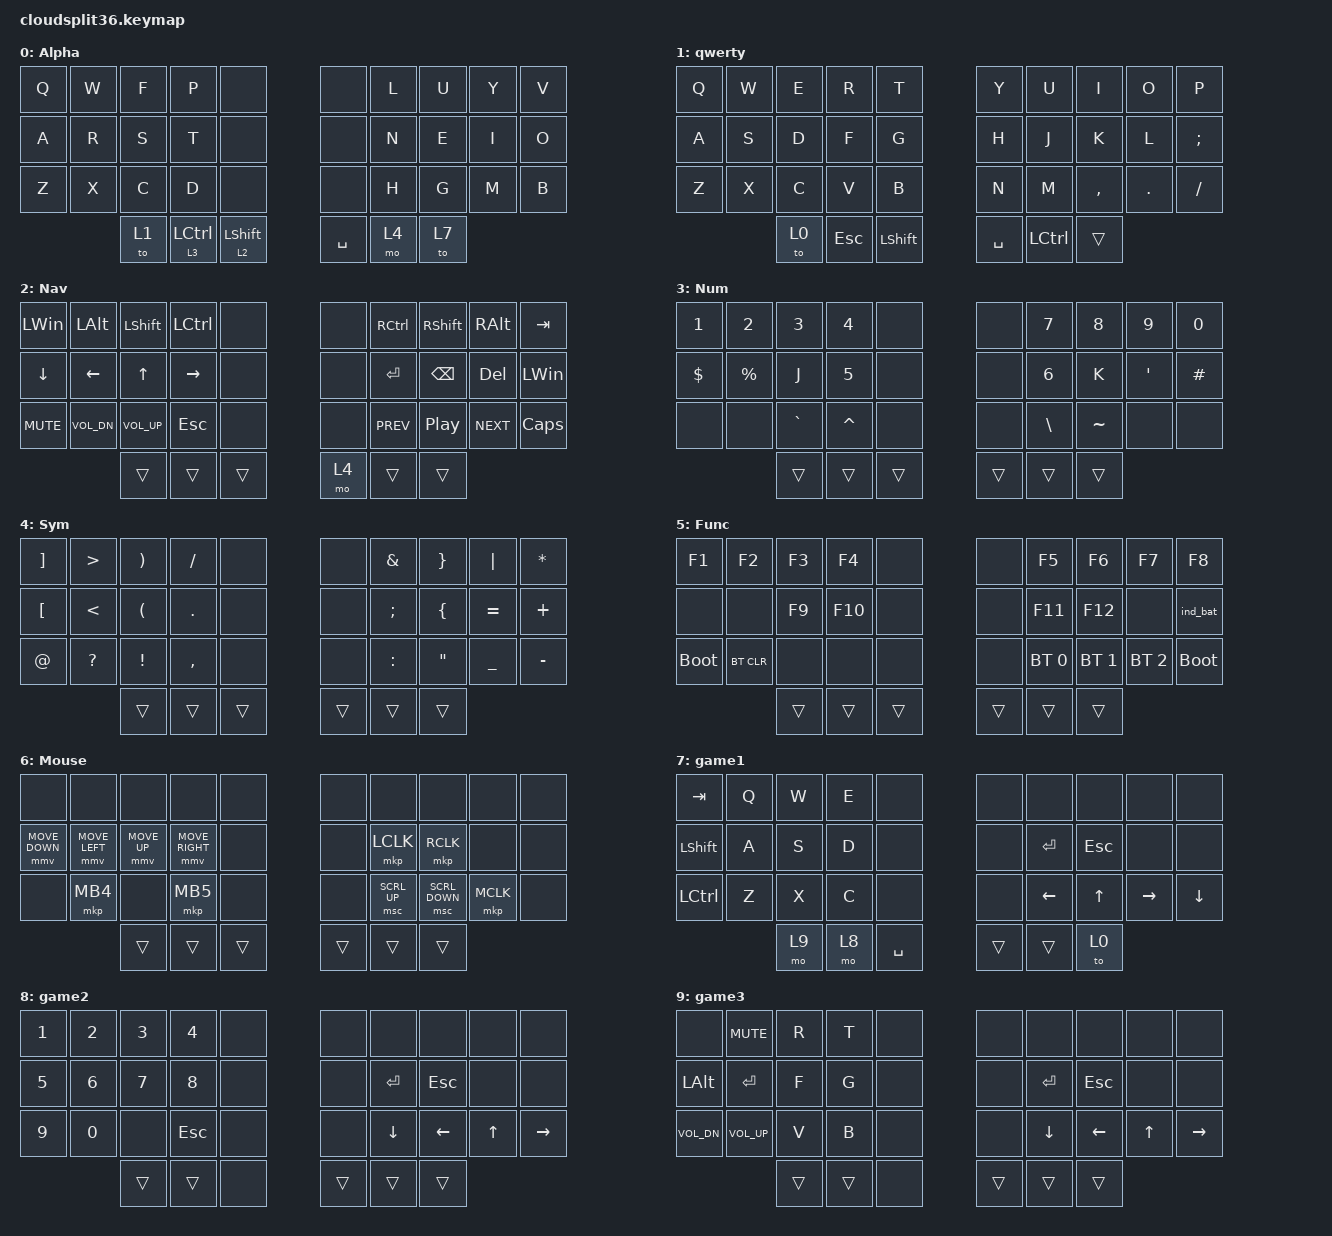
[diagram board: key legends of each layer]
#define ZMK_POINTING_DEFAULT_MOVE_VAL 900
#define ZMK_POINTING_DEFAULT_SCRL_VAL 200
#include <behaviors.dtsi>
#include <behaviors/rgbled_widget.dtsi>
#include <dt-bindings/zmk/pointing.h>
#include <dt-bindings/zmk/keys.h>
#include <dt-bindings/zmk/bt.h>

/ {
    behaviors {
    sk: sticky_key {
        compatible = "zmk,behavior-sticky-key";
        #binding-cells = <1>;
        bindings = <&kp>;
        release-after-ms = <1500>;
        quick-release;
        ignore-modifiers;
    };
    lt: layer_tap {
        compatible = "zmk,behavior-hold-tap";
        #binding-cells = <2>;
        flavor = "tap-unless-interrupted";
        tapping-term-ms = <2000>;
        bindings = <&mo>, <&kp>;
    };
    lts: layer_tap_sticky {
        compatible = "zmk,behavior-hold-tap";
        #binding-cells = <2>;
        bindings = <&mo>, <&sk>;
        tapping-term-ms = <2000>;
        flavor = "hold-preferred";
    };
};

    keymap {
        compatible = "zmk,keymap";

        alpha_layer {
            display-name = "Alpha";
            bindings = <
                &kp Q       &kp W       &kp F       &kp P       &none               &none       &kp L       &kp U       &kp Y       &kp V
                &kp A       &kp R       &kp S       &kp T       &none               &none       &kp N       &kp E       &kp I       &kp O
                &kp Z       &kp X       &kp C       &kp D       &none               &none       &kp H       &kp G       &kp M       &kp B
                                        &to 1       &lts 3 LCTRL &lts 2 LSHIFT      &kp SPACE   &mo 4       &to 7
            >;
        };

        qwerty_layer {
            display-name = "qwerty";
            bindings = <
                &kp Q       &kp W       &kp E       &kp R       &kp T               &kp Y       &kp U       &kp I       &kp O       &kp P
                &kp A       &kp S       &kp D       &kp F       &kp G               &kp H       &kp J       &kp K       &kp L       &kp SEMI
                &kp Z       &kp X       &kp C       &kp V       &kp B               &kp N       &kp M       &kp COMMA   &kp DOT     &kp SLASH
                                        &to 0       &kp ESC     &kp LSHIFT          &kp SPACE   &kp LCTRL   &trans
            >;
        };

        nav_layer {
            display-name = "Nav";
            bindings = <
                &kp LWIN    &kp LALT    &kp LSHIFT  &kp LCTRL   &none               &none       &kp RCTRL   &kp RSHIFT  &kp RALT    &kp TAB
                &kp DOWN    &kp LEFT    &kp UP      &kp RIGHT   &none               &none       &kp ENTER   &kp BSPC    &kp DEL     &kp LWIN
                &kp C_MUTE &kp C_VOL_DN &kp C_VOL_UP &kp ESC    &none               &none       &kp C_PREV  &kp C_PP    &kp C_NEXT  &kp CAPS
                                        &trans      &trans      &trans              &mo 4       &trans      &trans
            >;
        };

        num_layer {
            display-name = "Num";
            bindings = <
                &kp N1      &kp N2      &kp N3      &kp N4      &none               &none       &kp N7      &kp N8      &kp N9      &kp N0
                &kp DOLLAR  &kp PERCENT &kp J       &kp N5      &none               &none       &kp N6      &kp K       &kp APOS    &kp HASH
                &none       &none       &kp GRAVE   &kp CARET   &none               &none       &kp BSLH    &kp TILDE   &none       &none
                                        &trans      &trans      &trans              &trans      &trans      &trans
            >;
        };


        sym_layer {
            display-name = "Sym";
            bindings = <
                &kp RBKT    &kp GT      &kp RPAR    &kp SLASH   &none               &none       &kp AMPS    &kp RBRC    &kp PIPE    &kp ASTERISK
                &kp LBKT    &kp LT      &kp LPAR    &kp DOT     &none               &none       &kp SEMI    &kp LBRC    &kp EQUAL   &kp PLUS
                &kp AT      &kp QMARK   &kp EXCL    &kp COMMA   &none               &none       &kp COLON   &kp DQT     &kp UNDER   &kp MINUS
                                        &trans      &trans      &trans              &trans      &trans      &trans
            >;
        };

        func_layer {
            display-name = "Func";
            bindings = <
                &kp F1      &kp F2      &kp F3      &kp F4      &none               &none       &kp F5      &kp F6      &kp F7      &kp F8
                &none       &none       &kp F9      &kp F10     &none               &none       &kp F11     &kp F12     &none       &ind_bat
                &bootloader &bt BT_CLR  &none       &none       &none               &none       &bt BT_SEL 0 &bt BT_SEL 1 &bt BT_SEL 2 &bootloader
                                        &trans      &trans      &trans              &trans      &trans      &trans
            >;
        };

        mouse_layer {
            display-name = "Mouse";
            bindings = <
                &none       &none       &none       &none       &none               &none       &none       &none       &none       &none
                &mmv MOVE_DOWN &mmv MOVE_LEFT &mmv MOVE_UP &mmv MOVE_RIGHT &none    &none       &mkp LCLK   &mkp RCLK   &none       &none
                &none       &mkp MB4    &none       &mkp MB5    &none               &none       &msc SCRL_UP &msc SCRL_DOWN &mkp MCLK &none
                                        &trans      &trans      &trans              &trans      &trans      &trans
            >;
        };

        game1_layer {
            display-name = "game1";
            bindings = <
                &kp TAB     &kp Q       &kp W       &kp E       &none               &none       &none       &none       &none       &none
                &kp LSHIFT  &kp A       &kp S       &kp D       &none               &none       &kp ENTER   &kp ESC     &none       &none
                &kp LCTRL   &kp Z       &kp X       &kp C       &none               &none       &kp LEFT    &kp UP      &kp RIGHT   &kp DOWN
                                        &mo 9       &mo 8       &kp SPACE           &trans      &trans      &to 0
            >;
        };

        game2_layer {
            display-name = "game2";
            bindings = <
                &kp N1      &kp N2      &kp N3      &kp N4      &none               &none       &none       &none       &none       &none
                &kp N5      &kp N6      &kp N7      &kp N8      &none               &none       &kp ENTER   &kp ESC     &none       &none
                &kp N9      &kp N0      &none       &kp ESC     &none               &none       &kp DOWN    &kp LEFT    &kp UP      &kp RIGHT
                                        &trans      &trans      &none               &trans      &trans      &trans
            >;
        };

        game3_layer {
            display-name = "game3";
            bindings = <
                &none       &kp C_MUTE  &kp R       &kp T       &none               &none       &none       &none       &none       &none
                &kp LALT    &kp ENTER   &kp F       &kp G       &none               &none       &kp ENTER   &kp ESC     &none       &none
                &kp C_VOL_DN &kp C_VOL_UP &kp V     &kp B       &none               &none       &kp DOWN    &kp LEFT    &kp UP      &kp RIGHT
                                        &trans      &trans      &none               &trans      &trans      &trans
            >;
        };
    };
        conditional_layers {
        compatible = "zmk,conditional-layers";
        tri_layer {
            if-layers = <2 4>;
            then-layer = <5>;
        };
        tri_layer2 {
            if-layers = <3 4>;
            then-layer = <6>;
        };
    };
};
